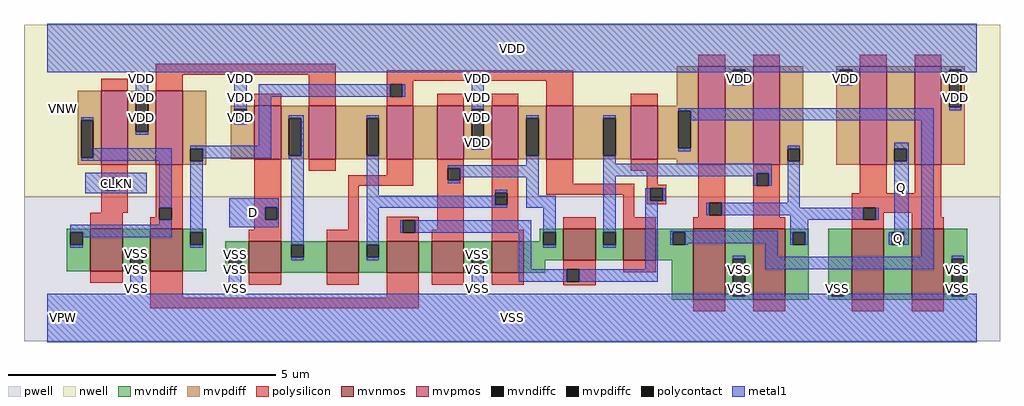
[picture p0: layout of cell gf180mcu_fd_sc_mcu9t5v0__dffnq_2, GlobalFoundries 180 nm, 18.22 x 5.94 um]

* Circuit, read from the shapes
.subckt gf180mcu_fd_sc_mcu9t5v0__dffnq_2 D CLKN Q VDD VNW VPW VSS
XM1 VSS CLKN n1 VPW nfet_06v0 w=0.79u l=0.6u
XM2 n2 n1 VSS VPW nfet_06v0 w=0.79u l=0.6u
XM3 n3 D VSS VPW nfet_06v0 w=0.59u l=0.6u
XM4 n4 n2 n3 VPW nfet_06v0 w=0.59u l=0.6u
XM5 n5 n1 n4 VPW nfet_06v0 w=0.59u l=0.6u
XM6 VSS n6 n5 VPW nfet_06v0 w=0.59u l=0.6u
XM7 n6 n4 VSS VPW nfet_06v0 w=0.59u l=0.6u
XM8 n7 n1 n6 VPW nfet_06v0 w=0.59u l=0.6u
XM9 n8 n2 n7 VPW nfet_06v0 w=0.59u l=0.6u
XM10 VSS n9 n8 VPW nfet_06v0 w=1.32u l=0.6u
XM11 n9 n7 VSS VPW nfet_06v0 w=1.32u l=0.6u
XM12 Q n9 VSS VPW nfet_06v0 w=1.32u l=0.6u m=2
XM13 VDD CLKN n1 VNW pfet_06v0 w=1.38u l=0.5u
XM14 n2 n1 VDD VNW pfet_06v0 w=1.38u l=0.5u
XM15 n3 D VDD VNW pfet_06v0 w=1u l=0.5u
XM16 n4 n1 n3 VNW pfet_06v0 w=1u l=0.5u
XM17 n10 n2 n4 VNW pfet_06v0 w=1u l=0.5u
XM18 VDD n6 n10 VNW pfet_06v0 w=1u l=0.5u
XM19 n6 n4 VDD VNW pfet_06v0 w=1u l=0.5u
XM20 n7 n2 n6 VNW pfet_06v0 w=1u l=0.5u
XM21 n8 n1 n7 VNW pfet_06v0 w=1u l=0.5u
XM22 VDD n9 n8 VNW pfet_06v0 w=1.83u l=0.5u
XM23 n9 n7 VDD VNW pfet_06v0 w=1.83u l=0.5u
XM24 Q n9 VDD VNW pfet_06v0 w=1.83u l=0.5u m=2
.ends

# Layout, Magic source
magic
tech gf180mcuD
magscale 1 10
<< nwell >>
rect -86 453 3558 1094
<< pwell >>
rect -86 -86 3558 453
<< mvnmos >>
rect 162 175 282 333
rect 386 175 506 333
rect 754 168 874 286
rect 1044 168 1164 286
rect 1268 168 1388 286
rect 1436 168 1556 286
rect 1660 168 1780 286
rect 1928 215 2048 333
rect 2152 215 2272 333
rect 2412 69 2532 333
rect 2636 69 2756 333
rect 3004 69 3124 333
rect 3228 69 3348 333
<< mvpmos >>
rect 202 573 302 849
rect 406 573 506 849
rect 774 593 874 793
rect 978 593 1078 793
rect 1268 593 1368 793
rect 1456 593 1556 793
rect 1660 593 1760 793
rect 1864 593 1964 793
rect 2180 593 2280 793
rect 2432 573 2532 939
rect 2636 573 2736 939
rect 3035 573 3135 939
rect 3239 573 3339 939
<< mvndiff >>
rect 74 320 162 333
rect 74 274 87 320
rect 133 274 162 320
rect 74 175 162 274
rect 282 234 386 333
rect 282 188 311 234
rect 357 188 386 234
rect 282 175 386 188
rect 506 320 594 333
rect 506 274 535 320
rect 581 274 594 320
rect 1840 320 1928 333
rect 1840 286 1853 320
rect 506 175 594 274
rect 666 227 754 286
rect 666 181 679 227
rect 725 181 754 227
rect 666 168 754 181
rect 874 273 1044 286
rect 874 227 912 273
rect 958 227 1044 273
rect 874 168 1044 227
rect 1164 273 1268 286
rect 1164 227 1193 273
rect 1239 227 1268 273
rect 1164 168 1268 227
rect 1388 168 1436 286
rect 1556 227 1660 286
rect 1556 181 1585 227
rect 1631 181 1660 227
rect 1556 168 1660 181
rect 1780 274 1853 286
rect 1899 274 1928 320
rect 1780 215 1928 274
rect 2048 320 2152 333
rect 2048 274 2077 320
rect 2123 274 2152 320
rect 2048 215 2152 274
rect 2272 320 2412 333
rect 2272 274 2337 320
rect 2383 274 2412 320
rect 2272 215 2412 274
rect 1780 168 1860 215
rect 2332 69 2412 215
rect 2532 222 2636 333
rect 2532 82 2561 222
rect 2607 82 2636 222
rect 2532 69 2636 82
rect 2756 320 2844 333
rect 2756 274 2785 320
rect 2831 274 2844 320
rect 2756 69 2844 274
rect 2916 128 3004 333
rect 2916 82 2929 128
rect 2975 82 3004 128
rect 2916 69 3004 82
rect 3124 320 3228 333
rect 3124 274 3153 320
rect 3199 274 3228 320
rect 3124 69 3228 274
rect 3348 222 3436 333
rect 3348 82 3377 222
rect 3423 82 3436 222
rect 3348 69 3436 82
<< mvpdiff >>
rect 114 739 202 849
rect 114 599 127 739
rect 173 599 202 739
rect 114 573 202 599
rect 302 836 406 849
rect 302 696 331 836
rect 377 696 406 836
rect 302 573 406 696
rect 506 632 594 849
rect 2352 793 2432 939
rect 506 586 535 632
rect 581 586 594 632
rect 686 780 774 793
rect 686 734 699 780
rect 745 734 774 780
rect 686 593 774 734
rect 874 746 978 793
rect 874 606 903 746
rect 949 606 978 746
rect 874 593 978 606
rect 1078 746 1268 793
rect 1078 606 1193 746
rect 1239 606 1268 746
rect 1078 593 1268 606
rect 1368 593 1456 793
rect 1556 780 1660 793
rect 1556 640 1585 780
rect 1631 640 1660 780
rect 1556 593 1660 640
rect 1760 746 1864 793
rect 1760 606 1789 746
rect 1835 606 1864 746
rect 1760 593 1864 606
rect 1964 746 2180 793
rect 1964 606 2077 746
rect 2123 606 2180 746
rect 1964 593 2180 606
rect 2280 773 2432 793
rect 2280 633 2357 773
rect 2403 633 2432 773
rect 2280 593 2432 633
rect 506 573 594 586
rect 2352 573 2432 593
rect 2532 926 2636 939
rect 2532 880 2561 926
rect 2607 880 2636 926
rect 2532 573 2636 880
rect 2736 632 2824 939
rect 2736 586 2765 632
rect 2811 586 2824 632
rect 2736 573 2824 586
rect 2947 926 3035 939
rect 2947 880 2960 926
rect 3006 880 3035 926
rect 2947 573 3035 880
rect 3135 632 3239 939
rect 3135 586 3164 632
rect 3210 586 3239 632
rect 3135 573 3239 586
rect 3339 926 3427 939
rect 3339 786 3368 926
rect 3414 786 3427 926
rect 3339 573 3427 786
<< mvndiffc >>
rect 87 274 133 320
rect 311 188 357 234
rect 535 274 581 320
rect 679 181 725 227
rect 912 227 958 273
rect 1193 227 1239 273
rect 1585 181 1631 227
rect 1853 274 1899 320
rect 2077 274 2123 320
rect 2337 274 2383 320
rect 2561 82 2607 222
rect 2785 274 2831 320
rect 2929 82 2975 128
rect 3153 274 3199 320
rect 3377 82 3423 222
<< mvpdiffc >>
rect 127 599 173 739
rect 331 696 377 836
rect 535 586 581 632
rect 699 734 745 780
rect 903 606 949 746
rect 1193 606 1239 746
rect 1585 640 1631 780
rect 1789 606 1835 746
rect 2077 606 2123 746
rect 2357 633 2403 773
rect 2561 880 2607 926
rect 2765 586 2811 632
rect 2960 880 3006 926
rect 3164 586 3210 632
rect 3368 786 3414 926
<< polysilicon >>
rect 406 909 1078 949
rect 2432 939 2532 983
rect 2636 939 2736 983
rect 3035 939 3135 983
rect 3239 939 3339 983
rect 202 849 302 893
rect 406 849 506 909
rect 774 793 874 837
rect 978 793 1078 909
rect 1268 885 1964 925
rect 1268 872 1368 885
rect 1268 826 1281 872
rect 1327 826 1368 872
rect 1268 793 1368 826
rect 1456 793 1556 837
rect 1660 793 1760 837
rect 1864 793 1964 885
rect 2180 793 2280 837
rect 202 523 302 573
rect 202 477 215 523
rect 261 477 302 523
rect 202 393 302 477
rect 406 412 506 573
rect 162 333 282 393
rect 406 377 419 412
rect 386 366 419 377
rect 465 366 506 412
rect 386 333 506 366
rect 774 413 874 593
rect 978 549 1078 593
rect 1268 533 1368 593
rect 774 367 814 413
rect 860 367 874 413
rect 774 330 874 367
rect 1124 493 1368 533
rect 1456 560 1556 593
rect 1456 514 1497 560
rect 1543 514 1556 560
rect 1124 330 1164 493
rect 754 286 874 330
rect 1044 286 1164 330
rect 1268 365 1388 378
rect 1268 319 1329 365
rect 1375 319 1388 365
rect 1456 330 1556 514
rect 1268 286 1388 319
rect 1436 286 1556 330
rect 1660 468 1760 593
rect 1660 422 1673 468
rect 1719 422 1760 468
rect 1864 501 1964 593
rect 2180 549 2280 593
rect 1864 461 2192 501
rect 1660 330 1760 422
rect 2152 377 2192 461
rect 2240 497 2280 549
rect 2240 484 2312 497
rect 2240 438 2253 484
rect 2299 438 2312 484
rect 2240 425 2312 438
rect 2432 430 2532 573
rect 2432 384 2473 430
rect 2519 384 2532 430
rect 2432 377 2532 384
rect 1928 333 2048 377
rect 2152 333 2272 377
rect 2412 333 2532 377
rect 2636 540 2736 573
rect 2636 494 2649 540
rect 2695 494 2736 540
rect 2636 377 2736 494
rect 3035 465 3135 573
rect 3239 465 3339 573
rect 3004 412 3339 465
rect 2636 333 2756 377
rect 3004 366 3048 412
rect 3094 393 3339 412
rect 3094 366 3124 393
rect 3004 333 3124 366
rect 3228 377 3339 393
rect 3228 333 3348 377
rect 1660 286 1780 330
rect 162 131 282 175
rect 386 76 506 175
rect 1928 182 2048 215
rect 754 124 874 168
rect 1044 124 1164 168
rect 1268 76 1388 168
rect 1436 124 1556 168
rect 1660 124 1780 168
rect 1928 136 1941 182
rect 1987 136 2048 182
rect 2152 171 2272 215
rect 1928 123 2048 136
rect 386 36 1388 76
rect 2412 25 2532 69
rect 2636 25 2756 69
rect 3004 25 3124 69
rect 3228 25 3348 69
<< polycontact >>
rect 1281 826 1327 872
rect 215 477 261 523
rect 419 366 465 412
rect 814 367 860 413
rect 1497 514 1543 560
rect 1329 319 1375 365
rect 1673 422 1719 468
rect 2253 438 2299 484
rect 2473 384 2519 430
rect 2649 494 2695 540
rect 3048 366 3094 412
rect 1941 136 1987 182
<< metal1 >>
rect 0 926 3472 1098
rect 0 918 2561 926
rect 331 836 377 918
rect 127 739 173 750
rect 699 780 745 918
rect 699 723 745 734
rect 791 826 1281 872
rect 1327 826 1338 872
rect 331 685 377 696
rect 791 643 837 826
rect 1585 780 1631 918
rect 2607 918 2960 926
rect 2561 869 2607 880
rect 3006 918 3368 926
rect 2960 869 3006 880
rect 3414 918 3472 926
rect 173 599 465 634
rect 127 588 465 599
rect 142 523 373 542
rect 142 477 215 523
rect 261 477 373 523
rect 142 466 373 477
rect 419 412 465 588
rect 419 348 465 366
rect 87 320 465 348
rect 133 302 465 320
rect 535 632 837 643
rect 581 597 837 632
rect 903 746 958 757
rect 949 606 958 746
rect 903 595 958 606
rect 535 320 581 586
rect 680 413 865 447
rect 680 367 814 413
rect 860 367 865 413
rect 680 338 865 367
rect 87 263 133 274
rect 535 263 581 274
rect 912 273 958 595
rect 311 234 357 245
rect 311 90 357 188
rect 679 227 725 238
rect 912 216 958 227
rect 1193 746 1239 757
rect 2357 773 3310 784
rect 3368 775 3414 786
rect 1585 629 1631 640
rect 1789 746 1835 757
rect 1193 457 1239 606
rect 1789 571 1835 606
rect 1497 560 1835 571
rect 1543 525 1835 560
rect 1497 503 1543 514
rect 1673 468 1719 479
rect 1193 422 1673 457
rect 1193 411 1719 422
rect 1789 457 1835 525
rect 2077 746 2123 757
rect 2403 738 3310 773
rect 2357 622 2403 633
rect 2765 632 2811 643
rect 2077 576 2123 606
rect 2077 540 2706 576
rect 2077 530 2649 540
rect 1789 411 1899 457
rect 1193 273 1239 411
rect 1318 319 1329 365
rect 1375 319 1807 365
rect 1193 216 1239 227
rect 1585 227 1631 238
rect 679 90 725 181
rect 1585 90 1631 181
rect 1761 182 1807 319
rect 1853 320 1899 411
rect 1853 263 1899 274
rect 2077 320 2123 530
rect 2638 494 2649 530
rect 2695 494 2706 540
rect 2077 263 2123 274
rect 2234 438 2253 484
rect 2299 438 2310 484
rect 2234 182 2280 438
rect 2765 430 2811 586
rect 2462 384 2473 430
rect 2519 412 2811 430
rect 3164 632 3218 654
rect 3210 586 3218 632
rect 2519 384 3048 412
rect 2774 366 3048 384
rect 3094 366 3105 412
rect 2326 320 2728 325
rect 2326 274 2337 320
rect 2383 279 2728 320
rect 2383 274 2394 279
rect 1761 136 1941 182
rect 1987 136 2280 182
rect 2561 222 2607 233
rect 0 82 2561 90
rect 2682 228 2728 279
rect 2774 320 2842 366
rect 3164 320 3218 586
rect 2774 274 2785 320
rect 2831 274 2842 320
rect 3142 274 3153 320
rect 3199 274 3218 320
rect 3264 228 3310 738
rect 2682 182 3310 228
rect 3377 222 3423 233
rect 2918 90 2929 128
rect 2607 82 2929 90
rect 2975 90 2986 128
rect 2975 82 3377 90
rect 3423 82 3472 90
rect 0 -90 3472 82
<< labels >>
flabel metal1 s 142 466 373 542 0 FreeSans 200 0 0 0 CLKN
port 2 nsew clock input
flabel metal1 s 680 338 865 447 0 FreeSans 200 0 0 0 D
port 1 nsew default input
flabel metal1 s 3164 320 3218 654 0 FreeSans 200 0 0 0 Q
port 3 nsew default output
flabel metal1 s 0 918 3472 1098 0 FreeSans 200 0 0 0 VDD
port 4 nsew power bidirectional abutment
flabel metal1 s 311 238 357 245 0 FreeSans 200 0 0 0 VSS
port 7 nsew ground bidirectional abutment
flabel nwell s 10 734 110 834 0 FreeSans 400 0 0 0 VNW
port 5 nsew power bidirectional
flabel pwell s 10 -50 110 50 0 FreeSans 400 0 0 0 VPW
port 6 nsew ground bidirectional
rlabel metal1 s 3142 274 3218 320 1 Q
port 3 nsew default output
rlabel metal1 s 3368 869 3414 918 1 VDD
port 4 nsew power bidirectional abutment
rlabel metal1 s 2960 869 3006 918 1 VDD
port 4 nsew power bidirectional abutment
rlabel metal1 s 2561 869 2607 918 1 VDD
port 4 nsew power bidirectional abutment
rlabel metal1 s 1585 869 1631 918 1 VDD
port 4 nsew power bidirectional abutment
rlabel metal1 s 699 869 745 918 1 VDD
port 4 nsew power bidirectional abutment
rlabel metal1 s 331 869 377 918 1 VDD
port 4 nsew power bidirectional abutment
rlabel metal1 s 3368 775 3414 869 1 VDD
port 4 nsew power bidirectional abutment
rlabel metal1 s 1585 775 1631 869 1 VDD
port 4 nsew power bidirectional abutment
rlabel metal1 s 699 775 745 869 1 VDD
port 4 nsew power bidirectional abutment
rlabel metal1 s 331 775 377 869 1 VDD
port 4 nsew power bidirectional abutment
rlabel metal1 s 1585 723 1631 775 1 VDD
port 4 nsew power bidirectional abutment
rlabel metal1 s 699 723 745 775 1 VDD
port 4 nsew power bidirectional abutment
rlabel metal1 s 331 723 377 775 1 VDD
port 4 nsew power bidirectional abutment
rlabel metal1 s 1585 685 1631 723 1 VDD
port 4 nsew power bidirectional abutment
rlabel metal1 s 331 685 377 723 1 VDD
port 4 nsew power bidirectional abutment
rlabel metal1 s 1585 629 1631 685 1 VDD
port 4 nsew power bidirectional abutment
rlabel metal1 s 1585 233 1631 238 1 VSS
port 7 nsew ground bidirectional abutment
rlabel metal1 s 679 233 725 238 1 VSS
port 7 nsew ground bidirectional abutment
rlabel metal1 s 311 233 357 238 1 VSS
port 7 nsew ground bidirectional abutment
rlabel metal1 s 3377 128 3423 233 1 VSS
port 7 nsew ground bidirectional abutment
rlabel metal1 s 2561 128 2607 233 1 VSS
port 7 nsew ground bidirectional abutment
rlabel metal1 s 1585 128 1631 233 1 VSS
port 7 nsew ground bidirectional abutment
rlabel metal1 s 679 128 725 233 1 VSS
port 7 nsew ground bidirectional abutment
rlabel metal1 s 311 128 357 233 1 VSS
port 7 nsew ground bidirectional abutment
rlabel metal1 s 3377 90 3423 128 1 VSS
port 7 nsew ground bidirectional abutment
rlabel metal1 s 2918 90 2986 128 1 VSS
port 7 nsew ground bidirectional abutment
rlabel metal1 s 2561 90 2607 128 1 VSS
port 7 nsew ground bidirectional abutment
rlabel metal1 s 1585 90 1631 128 1 VSS
port 7 nsew ground bidirectional abutment
rlabel metal1 s 679 90 725 128 1 VSS
port 7 nsew ground bidirectional abutment
rlabel metal1 s 311 90 357 128 1 VSS
port 7 nsew ground bidirectional abutment
rlabel metal1 s 0 -90 3472 90 1 VSS
port 7 nsew ground bidirectional abutment
<< properties >>
string FIXED_BBOX 0 0 3472 1008
string GDS_END 1501362
string GDS_FILE $PDKPATH/libs.ref/gf180mcu_fd_sc_mcu9t5v0/gds/gf180mcu_fd_sc_mcu9t5v0.gds
string GDS_START 1493308
string LEFclass core
string LEFsite GF018hv5v_green_sc9
string LEFsymmetry X Y
<< end >>
